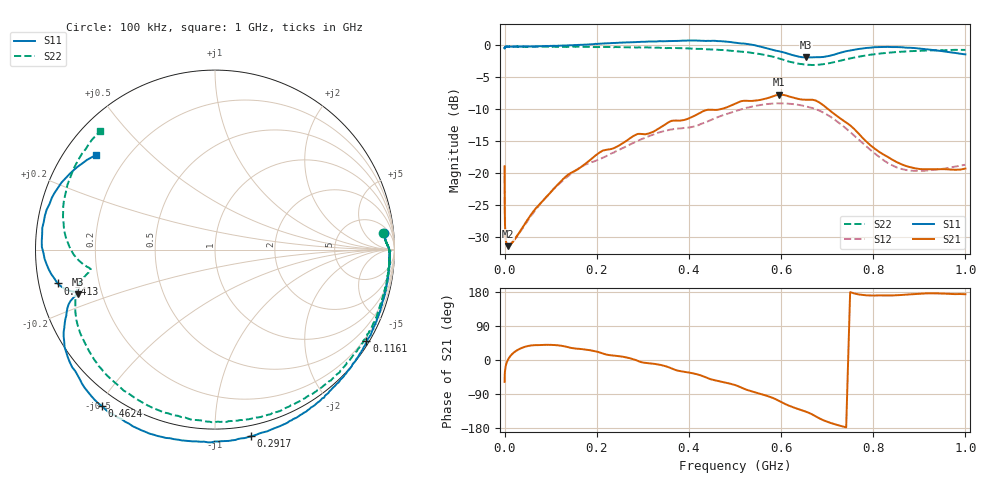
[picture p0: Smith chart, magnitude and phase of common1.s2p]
#  HZ  S  DB  R  50.0
! Rohde & Schwarz ZVL13 2Ports - Version 3.32 - 1303.6509k13 SN: 100950
! Date: 2021-08-05 10:53:23
! Messung-Serienkreis ----c-L 8MHz
! Data & Calibration Information:
! Trc1:S11(TOSM) Trc2:S21(TOSM) Trc3:S12(TOSM) Trc4:S22(TOSM)
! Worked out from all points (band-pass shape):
!   801 points, 100 kHz to 1 GHz, reference 50 ohm
!   highest |S21| = -7.72 dB at 595.7 MHz (marker M1); lowest = -31.4 dB at 7.586 MHz (marker M2)
!   |S21| within 3 dB of the highest: 419.9 MHz to 715.1 MHz (295.1 MHz wide, 52 % of centre)
!   lowest |S11| = -1.9 dB at 653.1 MHz (marker M3), VSWR 9.10, Z = 5.63 - j7.87 ohm
!   |S11| at or under -10 dB: nowhere
!   |S22| runs from -3.1 to -0.2 dB; largest |S21 - S12| = 0.083
!   S11 on the Smith chart (normalised r, x): 100 kHz: 9, +15; 116.1 MHz: 0.10, -3.58; 291.7 MHz: -0.07, -1.21; 462.4 MHz: -0.05, -0.51; 741.3 MHz: 0.05, -0.11; 1 GHz: 0.09, +0.35
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100000  -0.50 5.7  -18.91 -57.9  -18.87 -57.8  -0.51 5.7
467735.1  -0.35 1.7  -25.64 -37.0  -25.64 -36.9  -0.35 1.7
2162719  -0.26 0.1  -30.07 -17.9  -30.00 -18.3  -0.26 -0.0
7585776  -0.23 -1.9  -31.38 1.1  -31.33 1.0  -0.23 -2.1
1e7  -0.23 -2.7  -31.31 6.1  -31.32 5.9  -0.22 -2.9
2.398833e7  -0.21 -6.4  -30.08 23.2  -30.11 22.5  -0.24 -7.3
4.677351e7  -0.20 -12.5  -27.60 35.7  -27.77 34.3  -0.26 -14.1
1.161449e8  -0.12 -31.2  -21.71 38.6  -21.81 36.3  -0.26 -35.0
1.64059e8  0.05 -44.4  -19.11 29.1  -19.08 25.9  -0.26 -49.1
2.162719e8  0.25 -58.6  -16.42 16.0  -17.47 14.3  -0.29 -64.8
2.917427e8  0.50 -79.1  -13.85 -3.7  -14.84 -2.3  -0.33 -86.2
3.801894e8  0.67 -103.4  -11.79 -29.1  -13.01 -29.3  -0.47 -110.6
4.62381e8  0.63 -125.7  -10.09 -55.1  -11.24 -47.8  -0.71 -132.3
5.308844e8  0.14 -143.9  -8.70 -80.8  -9.70 -72.7  -1.14 -150.0
5.956621e8  -0.95 -157.2  -7.72 -108.0  -9.08 -101.1  -2.07 -165.1
6.531306e8  -1.92 -161.9  -8.52 -136.0  -9.55 -127.8  -3.04 -170.6
6.91831e8  -1.84 -163.2  -9.39 -159.1  -10.53 -146.6  -2.97 -171.9
7.413102e8  -0.94 -167.9  -12.07 -177.8  -13.02 -166.3  -2.21 -176.8
8.035261e8  -0.31 179.1  -16.17 170.2  -16.92 -175.8  -1.41 171.7
8.609938e8  -0.32 166.7  -18.58 171.5  -19.32 -170.0  -1.03 160.2
9.332543e8  -0.78 152.6  -19.37 175.8  -19.46 -163.1  -0.81 146.2
1e9  -1.44 141.5  -19.26 173.6  -18.66 -164.5  -0.74 134.1
